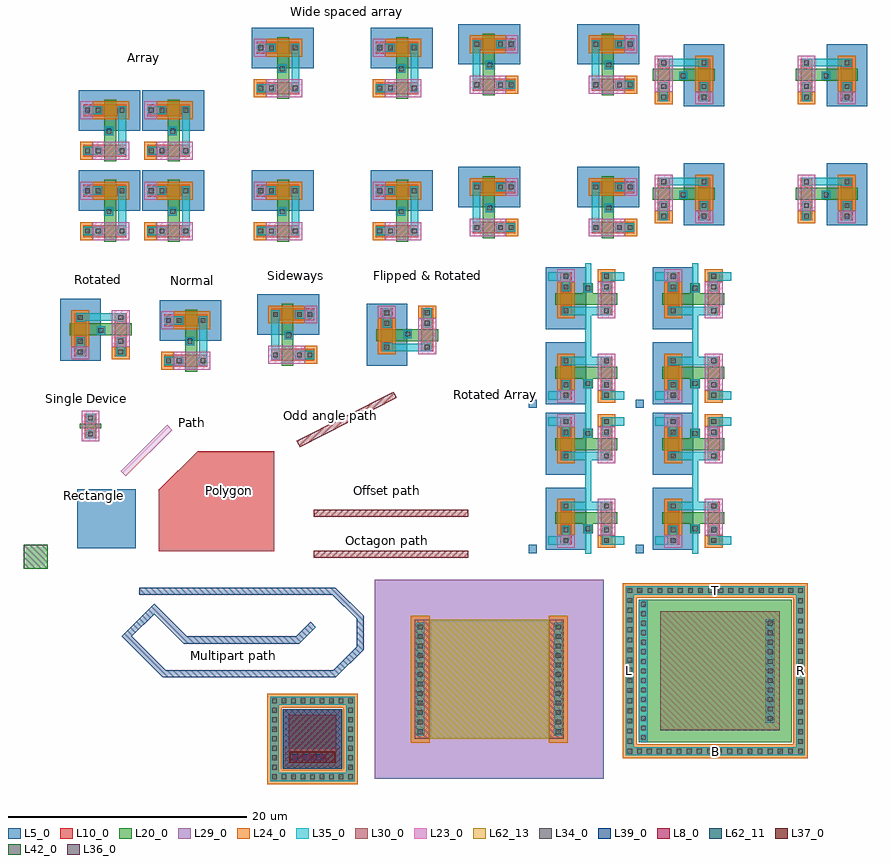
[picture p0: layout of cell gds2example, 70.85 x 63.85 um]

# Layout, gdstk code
from math import pi, radians
import gdstk
lib = gdstk.Library(unit=1e-6, precision=1e-09)
def R(c, l, rs):  # rectangles x0, y0, x1, y1
    for r in rs: c.add(gdstk.rectangle(r[:2], r[2:], *l))
def A(c, l, x, y, w, h, nx, ny, dx, dy):  # array of equal rectangles
    R(c, l, [(x+i*dx, y+j*dy, x+i*dx+w, y+j*dy+h) for i in range(nx) for j in range(ny)])
def P(c, l, *ps):  # polygons
    for p in ps: c.add(gdstk.Polygon(p, *l))
L5_0 = (5, 0)
L8_0 = (8, 0)
L10_0 = (10, 0)
L20_0 = (20, 0)
L23_0 = (23, 0)
L24_0 = (24, 0)
L29_0 = (29, 0)
L30_0 = (30, 0)
L34_0 = (34, 0)
L35_0 = (35, 0)
L36_0 = (36, 0)
L37_0 = (37, 0)
L39_0 = (39, 0)
L42_0 = (42, 0)
L62_11 = (62, 11)
L62_13 = (62, 13)

inv = lib.new_cell('inv')
R(inv, L5_0, [(0,2.9,5.2,6.3), (0,2.9,5.2,6.3)])
R(inv, L10_0, [(1.1,0.7,1.3,1.7), (1.65,0.7,2.2,1.7), (3.1,0.7,3.65,1.7), (1.1,4.1,1.3,5.1), (1.65,4.1,2.2,5.1), (3.1,4.1,3.65,5.1)])
R(inv, L20_0, [(2.15,2.1,3.15,3.7), (2.15,2.45,2.95,3.25)])
R(inv, L23_0, [(1.2,0.45,4.25,1.95), (0.15,3.85,1.2,5.35)])
R(inv, L24_0, [(0.15,0.45,1.2,1.95), (1.2,3.85,4.25,5.35)])
R(inv, L34_0, [(0.55,1,0.95,1.4), (1.45,1,1.85,1.4), (3.45,1,3.85,1.4), (2.35,2.65,2.75,3.05), (0.55,4.4,0.95,4.8), (1.45,4.4,1.85,4.8), (3.45,4.4,3.85,4.8)])
R(inv, L35_0, [(1.1,0.85,1.3,1.55), (2.2,2.5,2.9,3.2), (1.1,4.25,1.3,4.95)])
P(inv, L35_0, [(4,4.95),(3.3,4.95),(3.3,4.25),(3.35,4.25),(3.35,1.55),(3.3,1.55),(3.3,0.85),(4,0.85)])
inv.add(gdstk.FlexPath([(2.65,1.7),(2.65,0.7)], 1, ends="flush", simple_path=True, layer=10, datatype=0))  # L10_0
inv.add(gdstk.FlexPath([(1.65,1.7),(1.65,0.7)], 0.7, ends="flush", simple_path=True, layer=10, datatype=0))  # L10_0
inv.add(gdstk.FlexPath([(3.65,1.7),(3.65,0.7)], 0.7, ends="flush", simple_path=True, layer=10, datatype=0))  # L10_0
inv.add(gdstk.FlexPath([(0.75,1.7),(0.75,0.7)], 0.7, ends="flush", simple_path=True, layer=10, datatype=0))  # L10_0
inv.add(gdstk.FlexPath([(2.65,5.1),(2.65,4.1)], 1, ends="flush", simple_path=True, layer=10, datatype=0))  # L10_0
inv.add(gdstk.FlexPath([(1.65,5.1),(1.65,4.1)], 0.7, ends="flush", simple_path=True, layer=10, datatype=0))  # L10_0
inv.add(gdstk.FlexPath([(3.65,5.1),(3.65,4.1)], 0.7, ends="flush", simple_path=True, layer=10, datatype=0))  # L10_0
inv.add(gdstk.FlexPath([(0.75,5.1),(0.75,4.1)], 0.7, ends="flush", simple_path=True, layer=10, datatype=0))  # L10_0
inv.add(gdstk.FlexPath([(2.65,1.7),(2.65,0.7)], 1, ends="flush", simple_path=True, layer=20, datatype=0))  # L20_0
inv.add(gdstk.FlexPath([(2.65,2.1),(2.65,1.7)], 1, ends="flush", simple_path=True, layer=20, datatype=0))  # L20_0
inv.add(gdstk.FlexPath([(2.65,0.7),(2.65,0.3)], 1, ends="flush", simple_path=True, layer=20, datatype=0))  # L20_0
inv.add(gdstk.FlexPath([(2.65,5.1),(2.65,4.1)], 1, ends="flush", simple_path=True, layer=20, datatype=0))  # L20_0
inv.add(gdstk.FlexPath([(2.65,5.5),(2.65,5.1)], 1, ends="flush", simple_path=True, layer=20, datatype=0))  # L20_0
inv.add(gdstk.FlexPath([(2.65,4.1),(2.65,3.7)], 1, ends="flush", simple_path=True, layer=20, datatype=0))  # L20_0
inv.add(gdstk.FlexPath([(1.65,1.55),(1.65,0.85)], 0.7, ends="flush", simple_path=True, layer=35, datatype=0))  # L35_0
inv.add(gdstk.FlexPath([(3.65,1.55),(3.65,0.85)], 0.7, ends="flush", simple_path=True, layer=35, datatype=0))  # L35_0
inv.add(gdstk.FlexPath([(0.75,1.55),(0.75,0.85)], 0.7, ends="flush", simple_path=True, layer=35, datatype=0))  # L35_0
inv.add(gdstk.FlexPath([(1.65,4.95),(1.65,4.25)], 0.7, ends="flush", simple_path=True, layer=35, datatype=0))  # L35_0
inv.add(gdstk.FlexPath([(3.65,4.95),(3.65,4.25)], 0.7, ends="flush", simple_path=True, layer=35, datatype=0))  # L35_0
inv.add(gdstk.FlexPath([(0.75,4.95),(0.75,4.25)], 0.7, ends="flush", simple_path=True, layer=35, datatype=0))  # L35_0

big_inverter = lib.new_cell('big_inverter')
R(big_inverter, L5_0, [(0.35,3.2,5.55,6.6), (0.35,3.2,5.55,6.6)])
R(big_inverter, L10_0, [(1.45,1,1.65,2), (2,1,2.55,2), (3.45,1,4,2), (1.45,4.4,1.65,5.4), (2,4.4,2.55,5.4), (3.45,4.4,4,5.4)])
R(big_inverter, L20_0, [(2.5,2.4,3.5,4), (1.7,2.65,2.5,3.45)])
R(big_inverter, L23_0, [(1.55,0.75,4.6,2.25), (0.5,4.15,1.55,5.65)])
R(big_inverter, L24_0, [(0.5,0.75,1.55,2.25), (1.55,4.15,4.6,5.65)])
R(big_inverter, L34_0, [(0.9,1.3,1.3,1.7), (1.8,1.3,2.2,1.7), (3.8,1.3,4.2,1.7), (1.9,2.85,2.3,3.25), (0.9,4.7,1.3,5.1), (1.8,4.7,2.2,5.1), (3.8,4.7,4.2,5.1)])
R(big_inverter, L35_0, [(0.75,0,1.45,1.15), (1.45,1.15,1.65,1.85), (3.65,1.15,4.35,4.55), (1.75,2.7,2.45,3.4), (0,2.8,1.75,3.3), (4.35,2.8,6.1,3.3), (0.75,4.55,1.45,6.4), (1.45,4.55,1.65,5.25)])
big_inverter.add(gdstk.FlexPath([(3,2),(3,1)], 1, ends="flush", simple_path=True, layer=10, datatype=0))  # L10_0
big_inverter.add(gdstk.FlexPath([(2,2),(2,1)], 0.7, ends="flush", simple_path=True, layer=10, datatype=0))  # L10_0
big_inverter.add(gdstk.FlexPath([(4,2),(4,1)], 0.7, ends="flush", simple_path=True, layer=10, datatype=0))  # L10_0
big_inverter.add(gdstk.FlexPath([(1.1,2),(1.1,1)], 0.7, ends="flush", simple_path=True, layer=10, datatype=0))  # L10_0
big_inverter.add(gdstk.FlexPath([(3,5.4),(3,4.4)], 1, ends="flush", simple_path=True, layer=10, datatype=0))  # L10_0
big_inverter.add(gdstk.FlexPath([(2,5.4),(2,4.4)], 0.7, ends="flush", simple_path=True, layer=10, datatype=0))  # L10_0
big_inverter.add(gdstk.FlexPath([(4,5.4),(4,4.4)], 0.7, ends="flush", simple_path=True, layer=10, datatype=0))  # L10_0
big_inverter.add(gdstk.FlexPath([(1.1,5.4),(1.1,4.4)], 0.7, ends="flush", simple_path=True, layer=10, datatype=0))  # L10_0
big_inverter.add(gdstk.FlexPath([(3,2),(3,1)], 1, ends="flush", simple_path=True, layer=20, datatype=0))  # L20_0
big_inverter.add(gdstk.FlexPath([(3,2.4),(3,2)], 1, ends="flush", simple_path=True, layer=20, datatype=0))  # L20_0
big_inverter.add(gdstk.FlexPath([(3,1),(3,0.6)], 1, ends="flush", simple_path=True, layer=20, datatype=0))  # L20_0
big_inverter.add(gdstk.FlexPath([(3,5.4),(3,4.4)], 1, ends="flush", simple_path=True, layer=20, datatype=0))  # L20_0
big_inverter.add(gdstk.FlexPath([(3,5.8),(3,5.4)], 1, ends="flush", simple_path=True, layer=20, datatype=0))  # L20_0
big_inverter.add(gdstk.FlexPath([(3,4.4),(3,4)], 1, ends="flush", simple_path=True, layer=20, datatype=0))  # L20_0
big_inverter.add(gdstk.FlexPath([(2,1.85),(2,1.15)], 0.7, ends="flush", simple_path=True, layer=35, datatype=0))  # L35_0
big_inverter.add(gdstk.FlexPath([(4,1.85),(4,1.15)], 0.7, ends="flush", simple_path=True, layer=35, datatype=0))  # L35_0
big_inverter.add(gdstk.FlexPath([(1.1,1.85),(1.1,1.15)], 0.7, ends="flush", simple_path=True, layer=35, datatype=0))  # L35_0
big_inverter.add(gdstk.FlexPath([(2,5.25),(2,4.55)], 0.7, ends="flush", simple_path=True, layer=35, datatype=0))  # L35_0
big_inverter.add(gdstk.FlexPath([(4,5.25),(4,4.55)], 0.7, ends="flush", simple_path=True, layer=35, datatype=0))  # L35_0
big_inverter.add(gdstk.FlexPath([(1.1,5.25),(1.1,4.55)], 0.7, ends="flush", simple_path=True, layer=35, datatype=0))  # L35_0

mirror = lib.new_cell('mirror')
R(mirror, L5_0, [(0.9,8.4,1.6,9.1)])
mirror.add(gdstk.Reference(big_inverter, (13.05,1.05), rotation=pi, x_reflection=True))
mirror.add(gdstk.Reference(big_inverter, (0.85,1.05)))
mirror.add(gdstk.Label('mirrored', (6.7,9.55), layer=61, texttype=0))

gds2example = lib.new_cell('gds2example')
R(gds2example, L5_0, [(21.75,-16.8,26.75,-11.8), (4.5,1.7,9.4,6.65)])
R(gds2example, L8_0, [(21.75,-16.8,26.75,-11.8)])
R(gds2example, L10_0, [(20.7,-17.85,27.8,-17.15), (20.7,-17.85,21.4,-10.75), (27.1,-17.85,27.8,-10.75), (22.25,-16.3,26.25,-12.3), (20.7,-11.45,27.8,-10.75), (5.1,11.3,6.1,11.85), (5.1,12.1,6.1,12.65)])
P(gds2example, L10_0, [(11.35,6.6),(14.6,9.85),(21.05,9.85),(21.05,1.45),(11.35,1.45)])
R(gds2example, L20_0, [(51.65,-14.6,64.5,-2.6)])
R(gds2example, L23_0, [(21.95,-16.6,26.55,-15.1), (4.85,10.7,6.35,13.25)])
R(gds2example, L24_0, [(20.45,-18.1,21.65,-10.5), (20.45,-18.1,28.05,-16.9), (26.85,-18.1,28.05,-10.5), (32.5,-14.65,34.1,-3.95), (44.1,-14.65,45.7,-3.95), (20.45,-11.7,28.05,-10.5)])
R(gds2example, L29_0, [(29.5,-17.65,48.7,-0.95)])
R(gds2example, L30_0, [(33.5,-14.3,44.7,-4.3), (53.45,-13.6,63.5,-3.6)])
A(gds2example, L34_0, 20.85, -17.7, 0.4, 0.4, 9, 2, 0.8, 6.4)
A(gds2example, L34_0, 20.85, -16.9, 0.4, 0.4, 1, 7, 0, 0.8)
A(gds2example, L34_0, 27.25, -16.9, 0.4, 0.4, 1, 7, 0, 0.8)
A(gds2example, L34_0, 22.55, -16, 0.4, 0.4, 4, 1, 0.8, 0)
A(gds2example, L34_0, 50.7, -15.55, 0.4, 0.4, 1, 13, 0, 0.85)
A(gds2example, L34_0, 50.7, -15.55, 0.4, 0.4, 5, 1, 0.825, 0)
A(gds2example, L34_0, 54.85, -15.55, 0.4, 0.4, 13, 1, 0.85, 0)
A(gds2example, L34_0, 65.05, -15.55, 0.4, 0.4, 1, 5, 0, 0.825)
A(gds2example, L34_0, 51.85, -14.4, 0.4, 0.4, 1, 15, 0, 0.8)
A(gds2example, L34_0, 33.1, -13.9, 0.4, 0.4, 1, 12, 0, 0.8)
A(gds2example, L34_0, 44.7, -13.9, 0.4, 0.4, 1, 12, 0, 0.8)
A(gds2example, L34_0, 62.5, -12.8, 0.4, 0.4, 1, 11, 0, 0.8)
A(gds2example, L34_0, 65.05, -11.4, 0.4, 0.4, 1, 12, 0, 0.85)
A(gds2example, L34_0, 50.7, -4.525, 0.4, 0.4, 1, 4, 0, 0.825)
A(gds2example, L34_0, 50.7, -2.05, 0.4, 0.4, 14, 1, 0.85, 0)
A(gds2example, L34_0, 62.575, -2.05, 0.4, 0.4, 4, 1, 0.825, 0)
R(gds2example, L34_0, [(5.4,11.1,5.8,11.5), (5.4,12.45,5.8,12.85)])
R(gds2example, L35_0, [(20.7,-17.85,21.4,-10.75), (20.7,-17.85,27.8,-17.15), (27.1,-17.85,27.8,-10.75), (22.35,-16.3,26.15,-15.4), (20.7,-11.45,27.8,-10.75)])
A(gds2example, L36_0, 22.55, -16.1, 0.5, 0.5, 3, 1, 1, 0)
R(gds2example, L37_0, [(22.35,-16.3,26.15,-15.4)])
R(gds2example, L42_0, [(0,0,2,2)])
R(gds2example, L62_11, [(21.75,-16.8,26.75,-11.8)])
R(gds2example, L62_13, [(34.1,-14.3,44.1,-4.3)])
gds2example.add(gdstk.FlexPath([(5.1,11.975),(6.1,11.975)], 0.35, ends="flush", simple_path=True, layer=20, datatype=0))  # L20_0
gds2example.add(gdstk.FlexPath([(4.7,11.975),(5.1,11.975)], 0.35, ends="flush", simple_path=True, layer=20, datatype=0))  # L20_0
gds2example.add(gdstk.FlexPath([(6.1,11.975),(6.5,11.975)], 0.35, ends="flush", simple_path=True, layer=20, datatype=0))  # L20_0
gds2example.add(gdstk.FlexPath([(52.05,-14.6),(52.05,-2.6)], 0.8, ends="flush", simple_path=True, layer=20, datatype=0))  # L20_0
gds2example.add(gdstk.FlexPath([(33.3,-14.3),(33.3,-4.3)], 0.9, ends="flush", simple_path=True, layer=30, datatype=0))  # L30_0
gds2example.add(gdstk.FlexPath([(44.9,-14.3),(44.9,-4.3)], 0.9, ends="flush", simple_path=True, layer=30, datatype=0))  # L30_0
gds2example.add(gdstk.FlexPath([(62.7,-13.6),(62.7,-3.6)], 1.6, ends="flush", simple_path=True, layer=30, datatype=0))  # L30_0
gds2example.add(gdstk.FlexPath([(50.9,-15.95),(50.9,-1.25)], 1.2, ends="flush", simple_path=True, layer=24, datatype=0))  # L24_0
gds2example.add(gdstk.FlexPath([(50.3,-1.85),(65.85,-1.85)], 1.2, ends="flush", simple_path=True, layer=24, datatype=0))  # L24_0
gds2example.add(gdstk.FlexPath([(65.25,-1.25),(65.25,-15.95)], 1.2, ends="flush", simple_path=True, layer=24, datatype=0))  # L24_0
gds2example.add(gdstk.FlexPath([(65.85,-15.35),(50.3,-15.35)], 1.2, ends="flush", simple_path=True, layer=24, datatype=0))  # L24_0
gds2example.add(gdstk.FlexPath([(5.25,11.3),(5.95,11.3)], 0.7, ends="flush", simple_path=True, layer=35, datatype=0))  # L35_0
gds2example.add(gdstk.FlexPath([(5.25,12.65),(5.95,12.65)], 0.7, ends="flush", simple_path=True, layer=35, datatype=0))  # L35_0
gds2example.add(gdstk.FlexPath([(33.3,-14.05),(33.3,-4.55)], 0.7, ends="flush", simple_path=True, layer=35, datatype=0))  # L35_0
gds2example.add(gdstk.FlexPath([(44.9,-14.05),(44.9,-4.55)], 0.7, ends="flush", simple_path=True, layer=35, datatype=0))  # L35_0
gds2example.add(gdstk.FlexPath([(52.05,-14.55),(52.05,-2.65)], 0.7, ends="flush", simple_path=True, layer=35, datatype=0))  # L35_0
gds2example.add(gdstk.FlexPath([(62.7,-12.95),(62.7,-4.25)], 0.7, ends="flush", simple_path=True, layer=35, datatype=0))  # L35_0
gds2example.add(gdstk.FlexPath([(50.9,-15.7),(50.9,-1.5)], 0.7, ends="flush", simple_path=True, layer=35, datatype=0))  # L35_0
gds2example.add(gdstk.FlexPath([(50.55,-1.85),(65.6,-1.85)], 0.7, ends="flush", simple_path=True, layer=35, datatype=0))  # L35_0
gds2example.add(gdstk.FlexPath([(65.25,-1.5),(65.25,-15.7)], 0.7, ends="flush", simple_path=True, layer=35, datatype=0))  # L35_0
gds2example.add(gdstk.FlexPath([(65.6,-15.35),(50.55,-15.35)], 0.7, ends="flush", simple_path=True, layer=35, datatype=0))  # L35_0
gds2example.add(gdstk.FlexPath([(9.7,-1.9),(26.05,-1.9),(28.25,-4.1),(28.25,-6.7),(26.1,-8.85),(11.8,-8.85),(8.65,-5.7),(10.95,-3.4),(13.55,-6),(23,-6),(24.3,-4.7)], 0.6, ends="flush", simple_path=True, layer=39, datatype=0))  # L39_0
gds2example.add(gdstk.FlexPath([(24.65,1.2),(37.05,1.2)], 0.6, ends="round", simple_path=True, layer=37, datatype=0))  # L37_0
gds2example.add(gdstk.FlexPath([(24.65,4.65),(37.05,4.65)], 0.6, ends="extended", simple_path=True, layer=37, datatype=0))  # L37_0
gds2example.add(gdstk.FlexPath([(23.05,10.45),(31.2,14.6)], 0.6, ends="flush", simple_path=True, layer=37, datatype=0))  # L37_0
gds2example.add(gdstk.FlexPath([(5.1,11.975),(6.1,11.975)], 0.35, ends="flush", simple_path=True, layer=10, datatype=0))  # L10_0
gds2example.add(gdstk.FlexPath([(5.1,11.3),(6.1,11.3)], 0.7, ends="flush", simple_path=True, layer=10, datatype=0))  # L10_0
gds2example.add(gdstk.FlexPath([(5.1,12.65),(6.1,12.65)], 0.7, ends="flush", simple_path=True, layer=10, datatype=0))  # L10_0
gds2example.add(gdstk.FlexPath([(50.9,-15.7),(50.9,-1.5)], 0.7, ends="flush", simple_path=True, layer=10, datatype=0))  # L10_0
gds2example.add(gdstk.FlexPath([(50.55,-1.85),(65.6,-1.85)], 0.7, ends="flush", simple_path=True, layer=10, datatype=0))  # L10_0
gds2example.add(gdstk.FlexPath([(65.25,-1.5),(65.25,-15.7)], 0.7, ends="flush", simple_path=True, layer=10, datatype=0))  # L10_0
gds2example.add(gdstk.FlexPath([(65.6,-15.35),(50.55,-15.35)], 0.7, ends="flush", simple_path=True, layer=10, datatype=0))  # L10_0
gds2example.add(gdstk.FlexPath([(8.35,7.95),(12.25,11.85)], 0.6, ends="flush", simple_path=True, layer=23, datatype=0))  # L23_0
gds2example.add(gdstk.Reference(inv, (35.1,22.25), rotation=3*pi/2, x_reflection=True))
gds2example.add(gdstk.Reference(inv, (9.35,17.45), rotation=pi/2))
gds2example.add(gdstk.Reference(inv, (24.8,16.75), rotation=pi, x_reflection=True))
gds2example.add(gdstk.Reference(inv, (11.4,16.25)))
r = gdstk.Reference(inv, (52.55,28.85), rotation=pi/2, x_reflection=True); r.repetition = gdstk.Repetition(2, 2, v1=(0,10), v2=(12,0)); gds2example.add(r)
r = gdstk.Reference(mirror, (60.501,0.4), rotation=pi/2); r.repetition = gdstk.Repetition(2, 2, v1=(0,12.2), v2=(-9.001,0)); gds2example.add(r)
r = gdstk.Reference(inv, (51.7,27.45), rotation=pi, x_reflection=True); r.repetition = gdstk.Repetition(2, 2, v1=(-10,0), v2=(0,12)); gds2example.add(r)
r = gdstk.Reference(inv, (19.15,27.15)); r.repetition = gdstk.Repetition(2, 2, v1=(10,0), v2=(0,12)); gds2example.add(r)
r = gdstk.Reference(inv, (4.6,27.15)); r.repetition = gdstk.Repetition(2, 2, v1=(5.35,0), v2=(0,6.75)); gds2example.add(r)
gds2example.add(gdstk.Label('L', (50.9,-8.6), layer=61, texttype=0))
gds2example.add(gdstk.Label('T', (58.075,-1.85), layer=61, texttype=0))
gds2example.add(gdstk.Label('R', (65.25,-8.6), layer=61, texttype=0))
gds2example.add(gdstk.Label('B', (58.075,-15.35), layer=61, texttype=0))
gds2example.add(gdstk.Label('Rotated flipped array', (61.1,47.8), layer=61, texttype=0))
gds2example.add(gdstk.Label('Multipart path', (17.65,-7.3), layer=61, texttype=0))
gds2example.add(gdstk.Label('Octagon path', (30.55,2.35), layer=61, texttype=0))
gds2example.add(gdstk.Label('Offset path', (30.55,6.55), layer=61, texttype=0))
gds2example.add(gdstk.Label('Rotated Array', (39.65,14.6), layer=61, texttype=0))
gds2example.add(gdstk.Label('Sideways array', (45.05,47.8), layer=61, texttype=0))
gds2example.add(gdstk.Label('Wide spaced array', (27.1,46.8), layer=61, texttype=0))
gds2example.add(gdstk.Label('Array', (10.05,42.9), layer=61, texttype=0))
gds2example.add(gdstk.Label('Flipped & Rotated', (33.95,24.65), layer=61, texttype=0))
gds2example.add(gdstk.Label('Odd angle path', (25.8,12.85), layer=61, texttype=0))
gds2example.add(gdstk.Label('Rectangle', (5.85,6.15), layer=61, texttype=0))
gds2example.add(gdstk.Label('Polygon', (17.25,6.55), layer=61, texttype=0))
gds2example.add(gdstk.Label('Path', (14.2,12.25), layer=61, texttype=0))
gds2example.add(gdstk.Label('Single Device', (5.25,14.25), layer=61, texttype=0))
gds2example.add(gdstk.Label('Rotated', (6.25,24.25), layer=61, texttype=0))
gds2example.add(gdstk.Label('Sideways', (22.8,24.65), layer=61, texttype=0))
gds2example.add(gdstk.Label('Normal', (14.2,24.2), layer=61, texttype=0))

lib.write_gds('gds2example.gds')
